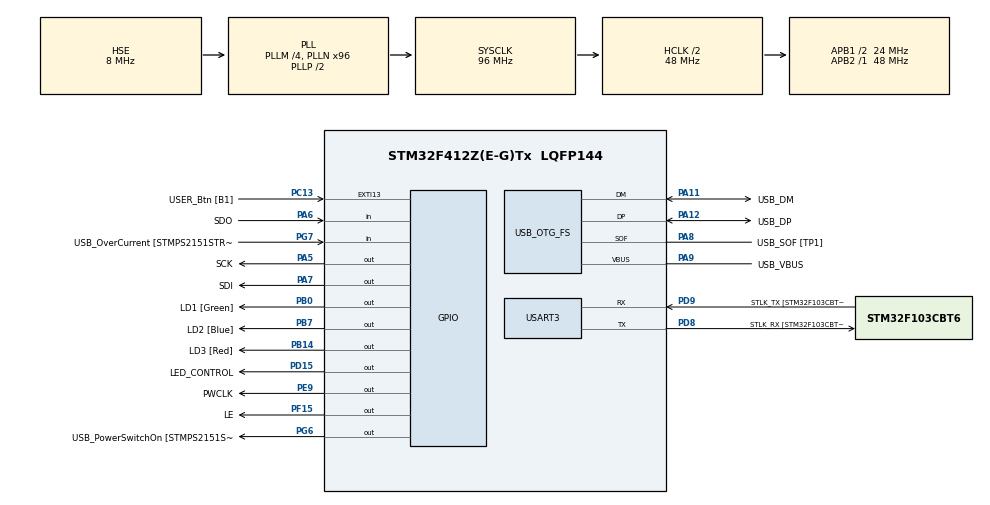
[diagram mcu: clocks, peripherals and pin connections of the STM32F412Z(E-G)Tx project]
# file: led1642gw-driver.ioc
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Mcu.Family=STM32F4
Mcu.Name=STM32F412Z(E-G)Tx
Mcu.Package=LQFP144
NVIC.PriorityGroup=NVIC_PRIORITYGROUP_4
PA10.GPIO_Label=USB_ID
PA10.Signal=USB_OTG_FS_ID
PA11.GPIO_Label=USB_DM
PA11.Mode=Device_Only
PA11.Signal=USB_OTG_FS_DM
PA12.GPIO_Label=USB_DP
PA12.Mode=Device_Only
PA12.Signal=USB_OTG_FS_DP
PA13.GPIO_Label=TMS
PA13.Mode=Serial_Wire
PA13.Signal=SYS_JTMS-SWDIO
PA14.GPIO_Label=TCK
PA14.Mode=Serial_Wire
PA14.Signal=SYS_JTCK-SWCLK
PA5.GPIO_Label=SCK
PA5.GPIO_Speed=GPIO_SPEED_FREQ_VERY_HIGH
PA5.Signal=GPIO_Output
PA6.GPIO_Label=SDO
PA6.Signal=GPIO_Input
PA7.GPIO_Label=SDI
PA7.GPIO_Speed=GPIO_SPEED_FREQ_VERY_HIGH
PA7.Signal=GPIO_Output
PA8.GPIO_Label=USB_SOF [TP1]
PA8.Mode=Activate_SOF_FS
PA8.Signal=USB_OTG_FS_SOF
PA9.GPIO_Label=USB_VBUS
PA9.Mode=Activate_VBUS
PA9.Signal=USB_OTG_FS_VBUS
PB0.GPIO_Label=LD1 [Green]
PB0.Signal=GPIO_Output
PB14.GPIO_Label=LD3 [Red]
PB14.Signal=GPIO_Output
PB3.GPIO_Label=SWO
PB3.Signal=SYS_JTDO-SWO
PB7.GPIO_Label=LD2 [Blue]
PB7.Signal=GPIO_Output
PC13.GPIO_Label=USER_Btn [B1]
PC13.Signal=GPXTI13
PC14-OSC32_IN.Mode=LSE-External-Oscillator
PC14-OSC32_IN.Signal=RCC_OSC32_IN
PC15-OSC32_OUT.Mode=LSE-External-Oscillator
PC15-OSC32_OUT.Signal=RCC_OSC32_OUT
PD15.GPIO_Label=LED_CONTROL
PD15.PinState=GPIO_PIN_SET
PD15.Signal=GPIO_Output
PD8.GPIO_Label=STLK_RX [STM32F103CBT6_PA3]
PD8.Mode=Asynchronous
PD8.Signal=USART3_TX
PD9.GPIO_Label=STLK_TX [STM32F103CBT6_PA2]
PD9.Mode=Asynchronous
PD9.Signal=USART3_RX
PE9.GPIO_Label=PWCLK
PE9.GPIO_Speed=GPIO_SPEED_FREQ_VERY_HIGH
PE9.Signal=GPIO_Output
PF15.GPIO_Label=LE
PF15.GPIO_Speed=GPIO_SPEED_FREQ_VERY_HIGH
PF15.Signal=GPIO_Output
PG6.GPIO_Label=USB_PowerSwitchOn [STMPS2151STR_EN]
PG6.Signal=GPIO_Output
PG7.GPIO_Label=USB_OverCurrent [STMPS2151STR_FAULT]
PG7.Signal=GPIO_Input
PH0\ -\ OSC_IN.GPIO_Label=MCO
PH0\ -\ OSC_IN.Mode=HSE-External-Clock-Source
PH0\ -\ OSC_IN.Signal=RCC_OSC_IN
PH1\ -\ OSC_OUT.Mode=HSE-External-Clock-Source
PH1\ -\ OSC_OUT.Signal=RCC_OSC_OUT
ProjectManager.HeapSize=0x200
ProjectManager.StackSize=0x400
ProjectManager.TargetToolchain=STM32CubeIDE
RCC.48MHZClocksFreq_Value=24000000
RCC.AHBCLKDivider=RCC_SYSCLK_DIV2
RCC.AHBFreq_Value=48000000
RCC.APB1CLKDivider=RCC_HCLK_DIV2
RCC.APB1Freq_Value=24000000
RCC.APB1TimFreq_Value=48000000
RCC.APB2Freq_Value=48000000
RCC.APB2TimFreq_Value=48000000
RCC.CortexFreq_Value=48000000
RCC.HCLKFreq_Value=48000000
RCC.HSE_VALUE=8000000
RCC.HSI_VALUE=16000000
RCC.PLLM=4
RCC.PLLMUL=RCC_PLL_MUL9
RCC.PLLN=96
RCC.PLLQ=4
RCC.PRESCALERUSB=RCC_USBCLKSOURCE_PLL_DIV1_5
RCC.SYSCLKFreq_VALUE=96000000
RCC.SYSCLKSource=RCC_SYSCLKSOURCE_PLLCLK
RCC.SYSCLKSourceVirtual=RCC_SYSCLKSOURCE_PLLCLK
RCC.USBFreq_Value=48000000
RCC.VCOOutputFreq_Value=192000000
USART3.VirtualMode=VM_ASYNC
USB_OTG_FS.VirtualMode=Device_Only
board=NUCLEO-F412ZG

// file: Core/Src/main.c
/* USER CODE BEGIN Header */
/**
  ******************************************************************************
  * @file           : main.c
  * @brief          : Main program body
  ******************************************************************************
  * @attention
  *
  * Copyright (c) 2025 STMicroelectronics.
  * All rights reserved.
  *
  * This software is licensed under terms that can be found in the LICENSE file
  * in the root directory of this software component.
  * If no LICENSE file comes with this software, it is provided AS-IS.
  *
  ******************************************************************************
  */
/* USER CODE END Header */
#include "main.h"

/* USER CODE BEGIN Includes */
#include "led1642gw.h"
#include "stdbool.h"
/* USER CODE END Includes */

/* USER CODE BEGIN PD */
#define NUM_DRIVERS 1
/* USER CODE END PD */

UART_HandleTypeDef huart3;

PCD_HandleTypeDef hpcd_USB_OTG_FS;

/* USER CODE BEGIN PV */
uint16_t led_data[NUM_DRIVERS];
/* USER CODE END PV */

void SystemClock_Config(void);
static void MX_GPIO_Init(void);
static void MX_USART3_UART_Init(void);
static void MX_USB_OTG_FS_PCD_Init(void);
/* USER CODE BEGIN PFP */
static uint8_t convert_char(char symbol);
/* USER CODE END PFP */

int main(void)
{

  /* MCU Configuration--------------------------------------------------------*/

  /* Reset of all peripherals, Initializes the Flash interface and the Systick. */
  HAL_Init();

  /* Configure the system clock */
  SystemClock_Config();

  /* Initialize all configured peripherals */
  MX_GPIO_Init();
  MX_USART3_UART_Init();
  MX_USB_OTG_FS_PCD_Init();
  /* USER CODE BEGIN 2 */
  // Create the driver handle
  LED1642GW_Handle_t hLedDriver;
  char number = '0';

  // Initialize the driver with your chosen pins
  // (Replace with your actual GPIO Ports and Pins)
  LED1642GW_Init(&hLedDriver,
		  	  	  SDI_GPIO_Port, SDI_Pin,  // SDI Port/Pin
				  SCK_GPIO_Port, SCK_Pin,  // CLK Port/Pin
				  LE_GPIO_Port, LE_Pin,  // LE Port/Pin
				  PWCLK_GPIO_Port, PWCLK_Pin); // OE Port/Pin

  // If using PWM, start it here
  // HAL_TIM_PWM_Start(&htim2, TIM_CHANNEL_1);
  // __HAL_TIM_SET_COMPARE(&htim2, TIM_CHANNEL_1, 500); // 50% duty cycle example

  // If not using PWM, manually enable the output
  LED1642GW_SetOutputEnable(&hLedDriver, 1);
  /* USER CODE END 2 */

  /* Infinite loop */
  while (1)
  {

    /* USER CODE BEGIN 3 */

	// Set data for the first IC (closest to MCU)
	// Turn on channels 0, 2, 4
	led_data[0] = (uint16_t)(convert_char(number) | 0b00001000);

	// Send the data to the daisy chain
	LED1642GW_WriteDaisy(&hLedDriver, led_data, NUM_DRIVERS);

	if (number == '9') {
		number = '0';
	} else {
		number++;
	}

	HAL_Delay(1000); // Wait 1 second

  }
  /* USER CODE END 3 */
}

void SystemClock_Config(void)
{
  RCC_OscInitTypeDef RCC_OscInitStruct = {0};
  RCC_ClkInitTypeDef RCC_ClkInitStruct = {0};

  /** Configure the main internal regulator output voltage
  */
  __HAL_RCC_PWR_CLK_ENABLE();
  __HAL_PWR_VOLTAGESCALING_CONFIG(PWR_REGULATOR_VOLTAGE_SCALE1);

  /** Initializes the RCC Oscillators according to the specified parameters
  * in the RCC_OscInitTypeDef structure.
  */
  RCC_OscInitStruct.OscillatorType = RCC_OSCILLATORTYPE_HSE;
  RCC_OscInitStruct.HSEState = RCC_HSE_BYPASS;
  RCC_OscInitStruct.PLL.PLLState = RCC_PLL_ON;
  RCC_OscInitStruct.PLL.PLLSource = RCC_PLLSOURCE_HSE;
  RCC_OscInitStruct.PLL.PLLM = 4;
  RCC_OscInitStruct.PLL.PLLN = 96;
  RCC_OscInitStruct.PLL.PLLP = RCC_PLLP_DIV2;
  RCC_OscInitStruct.PLL.PLLQ = 4;
  RCC_OscInitStruct.PLL.PLLR = 2;
  if (HAL_RCC_OscConfig(&RCC_OscInitStruct) != HAL_OK)
  {
    Error_Handler();
  }

  /** Initializes the CPU, AHB and APB buses clocks
  */
  RCC_ClkInitStruct.ClockType = RCC_CLOCKTYPE_HCLK|RCC_CLOCKTYPE_SYSCLK
                              |RCC_CLOCKTYPE_PCLK1|RCC_CLOCKTYPE_PCLK2;
  RCC_ClkInitStruct.SYSCLKSource = RCC_SYSCLKSOURCE_PLLCLK;
  RCC_ClkInitStruct.AHBCLKDivider = RCC_SYSCLK_DIV2;
  RCC_ClkInitStruct.APB1CLKDivider = RCC_HCLK_DIV2;
  RCC_ClkInitStruct.APB2CLKDivider = RCC_HCLK_DIV1;

  if (HAL_RCC_ClockConfig(&RCC_ClkInitStruct, FLASH_LATENCY_1) != HAL_OK)
  {
    Error_Handler();
  }
}

static void MX_USART3_UART_Init(void)
{

  huart3.Instance = USART3;
  huart3.Init.BaudRate = 115200;
  huart3.Init.WordLength = UART_WORDLENGTH_8B;
  huart3.Init.StopBits = UART_STOPBITS_1;
  huart3.Init.Parity = UART_PARITY_NONE;
  huart3.Init.Mode = UART_MODE_TX_RX;
  huart3.Init.HwFlowCtl = UART_HWCONTROL_NONE;
  huart3.Init.OverSampling = UART_OVERSAMPLING_16;
  if (HAL_UART_Init(&huart3) != HAL_OK)
  {
    Error_Handler();
  }

}

static void MX_USB_OTG_FS_PCD_Init(void)
{

  hpcd_USB_OTG_FS.Instance = USB_OTG_FS;
  hpcd_USB_OTG_FS.Init.dev_endpoints = 6;
  hpcd_USB_OTG_FS.Init.speed = PCD_SPEED_FULL;
  hpcd_USB_OTG_FS.Init.dma_enable = DISABLE;
  hpcd_USB_OTG_FS.Init.phy_itface = PCD_PHY_EMBEDDED;
  hpcd_USB_OTG_FS.Init.Sof_enable = ENABLE;
  hpcd_USB_OTG_FS.Init.low_power_enable = DISABLE;
  hpcd_USB_OTG_FS.Init.lpm_enable = DISABLE;
  hpcd_USB_OTG_FS.Init.battery_charging_enable = ENABLE;
  hpcd_USB_OTG_FS.Init.vbus_sensing_enable = ENABLE;
  hpcd_USB_OTG_FS.Init.use_dedicated_ep1 = DISABLE;
  if (HAL_PCD_Init(&hpcd_USB_OTG_FS) != HAL_OK)
  {
    Error_Handler();
  }

}

static void MX_GPIO_Init(void)
{
  GPIO_InitTypeDef GPIO_InitStruct = {0};

  /* GPIO Ports Clock Enable */
  __HAL_RCC_GPIOC_CLK_ENABLE();
  __HAL_RCC_GPIOH_CLK_ENABLE();
  __HAL_RCC_GPIOA_CLK_ENABLE();
  __HAL_RCC_GPIOB_CLK_ENABLE();
  __HAL_RCC_GPIOF_CLK_ENABLE();
  __HAL_RCC_GPIOE_CLK_ENABLE();
  __HAL_RCC_GPIOD_CLK_ENABLE();
  __HAL_RCC_GPIOG_CLK_ENABLE();

  /*Configure GPIO pin Output Level */
  HAL_GPIO_WritePin(GPIOA, SCK_Pin|SDI_Pin, GPIO_PIN_RESET);

  /*Configure GPIO pin Output Level */
  HAL_GPIO_WritePin(GPIOB, LD1_Pin|LD3_Pin|LD2_Pin, GPIO_PIN_RESET);

  /*Configure GPIO pin Output Level */
  HAL_GPIO_WritePin(LE_GPIO_Port, LE_Pin, GPIO_PIN_RESET);

  /*Configure GPIO pin Output Level */
  HAL_GPIO_WritePin(PWCLK_GPIO_Port, PWCLK_Pin, GPIO_PIN_RESET);

  /*Configure GPIO pin Output Level */
  HAL_GPIO_WritePin(LED_CONTROL_GPIO_Port, LED_CONTROL_Pin, GPIO_PIN_SET);

  /*Configure GPIO pin Output Level */
  HAL_GPIO_WritePin(USB_PowerSwitchOn_GPIO_Port, USB_PowerSwitchOn_Pin, GPIO_PIN_RESET);

  /*Configure GPIO pin : USER_Btn_Pin */
  GPIO_InitStruct.Pin = USER_Btn_Pin;
  GPIO_InitStruct.Mode = GPIO_MODE_IT_RISING;
  GPIO_InitStruct.Pull = GPIO_NOPULL;
  HAL_GPIO_Init(USER_Btn_GPIO_Port, &GPIO_InitStruct);

  /*Configure GPIO pins : SCK_Pin SDI_Pin */
  GPIO_InitStruct.Pin = SCK_Pin|SDI_Pin;
  GPIO_InitStruct.Mode = GPIO_MODE_OUTPUT_PP;
  GPIO_InitStruct.Pull = GPIO_NOPULL;
  GPIO_InitStruct.Speed = GPIO_SPEED_FREQ_VERY_HIGH;
  HAL_GPIO_Init(GPIOA, &GPIO_InitStruct);

  /*Configure GPIO pin : SDO_Pin */
  GPIO_InitStruct.Pin = SDO_Pin;
  GPIO_InitStruct.Mode = GPIO_MODE_INPUT;
  GPIO_InitStruct.Pull = GPIO_NOPULL;
  HAL_GPIO_Init(SDO_GPIO_Port, &GPIO_InitStruct);

  /*Configure GPIO pins : LD1_Pin LD3_Pin LD2_Pin */
  GPIO_InitStruct.Pin = LD1_Pin|LD3_Pin|LD2_Pin;
  GPIO_InitStruct.Mode = GPIO_MODE_OUTPUT_PP;
  GPIO_InitStruct.Pull = GPIO_NOPULL;
  GPIO_InitStruct.Speed = GPIO_SPEED_FREQ_LOW;
  HAL_GPIO_Init(GPIOB, &GPIO_InitStruct);

  /*Configure GPIO pin : LE_Pin */
  GPIO_InitStruct.Pin = LE_Pin;
  GPIO_InitStruct.Mode = GPIO_MODE_OUTPUT_PP;
  GPIO_InitStruct.Pull = GPIO_NOPULL;
  GPIO_InitStruct.Speed = GPIO_SPEED_FREQ_VERY_HIGH;
  HAL_GPIO_Init(LE_GPIO_Port, &GPIO_InitStruct);

  /*Configure GPIO pin : PWCLK_Pin */
  GPIO_InitStruct.Pin = PWCLK_Pin;
  GPIO_InitStruct.Mode = GPIO_MODE_OUTPUT_PP;
  GPIO_InitStruct.Pull = GPIO_NOPULL;
  GPIO_InitStruct.Speed = GPIO_SPEED_FREQ_VERY_HIGH;
  HAL_GPIO_Init(PWCLK_GPIO_Port, &GPIO_InitStruct);

  /*Configure GPIO pin : LED_CONTROL_Pin */
  GPIO_InitStruct.Pin = LED_CONTROL_Pin;
  GPIO_InitStruct.Mode = GPIO_MODE_OUTPUT_PP;
  GPIO_InitStruct.Pull = GPIO_NOPULL;
  GPIO_InitStruct.Speed = GPIO_SPEED_FREQ_LOW;
  HAL_GPIO_Init(LED_CONTROL_GPIO_Port, &GPIO_InitStruct);

  /*Configure GPIO pin : USB_PowerSwitchOn_Pin */
  GPIO_InitStruct.Pin = USB_PowerSwitchOn_Pin;
  GPIO_InitStruct.Mode = GPIO_MODE_OUTPUT_PP;
  GPIO_InitStruct.Pull = GPIO_NOPULL;
  GPIO_InitStruct.Speed = GPIO_SPEED_FREQ_LOW;
  HAL_GPIO_Init(USB_PowerSwitchOn_GPIO_Port, &GPIO_InitStruct);

  /*Configure GPIO pin : USB_OverCurrent_Pin */
  GPIO_InitStruct.Pin = USB_OverCurrent_Pin;
  GPIO_InitStruct.Mode = GPIO_MODE_INPUT;
  GPIO_InitStruct.Pull = GPIO_NOPULL;
  HAL_GPIO_Init(USB_OverCurrent_GPIO_Port, &GPIO_InitStruct);

}

/* USER CODE BEGIN 4 */
static uint8_t convert_char(char symbol) {

	uint8_t data = 0;
	switch (symbol) {
	case '-':
		data = 0b00010000;
		break;
	case '0':
		data = 0b11100111;
		break;
	case '1':
		data = 0b10000100;
		break;
	case '2':
		data = 0b11010011;
		break;
	case '3':
		data = 0b11010110;
		break;
	case '4':
		data = 0b10110100;
		break;
	case '5':
		data = 0b01110110;
		break;
	case '6':
		data = 0b01110111;
		break;
	case '7':
		data = 0b11000100;
		break;
	case '8':
		data = 0b11110111;
		break;
	case '9':
		data = 0b11110100;
		break;
	}
	return data;
}
/* USER CODE END 4 */

void Error_Handler(void)
{
  __disable_irq();
  while (1)
  {
  }
}
